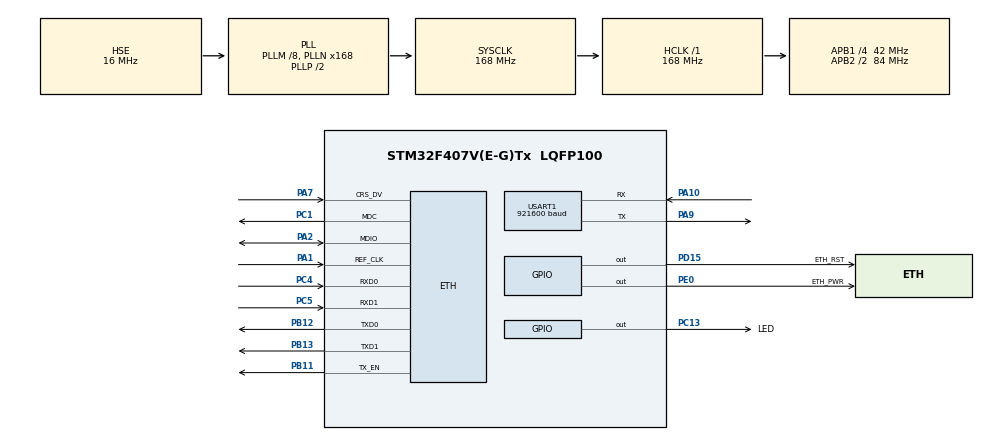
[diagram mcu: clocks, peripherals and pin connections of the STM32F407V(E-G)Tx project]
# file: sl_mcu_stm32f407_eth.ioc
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ETH.MediaInterface=HAL_ETH_RMII_MODE
LWIP.API_LIB_DEBUG=LWIP_DBG_ON
LWIP.API_MSG_DEBUG=LWIP_DBG_ON
LWIP.AUTOIP_DEBUG=LWIP_DBG_ON
LWIP.BSP.number=1
LWIP.DHCP6_DEBUG=LWIP_DBG_ON
LWIP.DHCP_DEBUG=LWIP_DBG_ON
LWIP.DNS_DEBUG=LWIP_DBG_ON
LWIP.ETHARP_DEBUG=LWIP_DBG_ON
LWIP.HTTPD_DEBUG=LWIP_DBG_ON
LWIP.HTTPD_DEBUG_TIMING=LWIP_DBG_ON
LWIP.ICMP_DEBUG=LWIP_DBG_ON
LWIP.IGMP_DEBUG=LWIP_DBG_ON
LWIP.INET_DEBUG=LWIP_DBG_ON
LWIP.IP6_DEBUG=LWIP_DBG_ON
LWIP.IP_DEBUG=LWIP_DBG_ON
LWIP.IP_REASS_DEBUG=LWIP_DBG_ON
LWIP.LWIP_DNS=1
LWIP.LWIP_IPV6=0
LWIP.LWIP_NETIF_HOSTNAME=1
LWIP.LWIP_TESTMODE=1
LWIP.MDNS_DEBUG=LWIP_DBG_ON
LWIP.MEMP_DEBUG=LWIP_DBG_ON
LWIP.MEM_DEBUG=LWIP_DBG_ON
LWIP.NETIF_DEBUG=LWIP_DBG_ON
LWIP.PBUF_DEBUG=LWIP_DBG_ON
LWIP.PPP_DEBUG=LWIP_DBG_ON
LWIP.RAW_DEBUG=LWIP_DBG_ON
LWIP.SLIP_DEBUG=LWIP_DBG_ON
LWIP.SMTP_DEBUG=LWIP_DBG_ON
LWIP.SNMP_DEBUG=LWIP_DBG_ON
LWIP.SNMP_MIB_DEBUG=LWIP_DBG_ON
LWIP.SNTP_DEBUG=LWIP_DBG_ON
LWIP.SOCKETS_DEBUG=LWIP_DBG_ON
LWIP.SYS_DEBUG=LWIP_DBG_ON
LWIP.TCPIP_DEBUG=LWIP_DBG_ON
LWIP.TCP_CWND_DEBUG=LWIP_DBG_ON
LWIP.TCP_DEBUG=LWIP_DBG_ON
LWIP.TCP_FR_DEBUG=LWIP_DBG_ON
LWIP.TCP_INPUT_DEBUG=LWIP_DBG_ON
LWIP.TCP_OUTPUT_DEBUG=LWIP_DBG_ON
LWIP.TCP_QLEN_DEBUG=LWIP_DBG_ON
LWIP.TCP_RST_DEBUG=LWIP_DBG_ON
LWIP.TCP_RTO_DEBUG=LWIP_DBG_ON
LWIP.TCP_WND_DEBUG=LWIP_DBG_ON
LWIP.TFTP_DEBUG=LWIP_DBG_ON
LWIP.TIMERS_DEBUG=LWIP_DBG_ON
LWIP.UDP_DEBUG=LWIP_DBG_ON
LWIP.Version=v2.1.2_Cube
LWIP0.BSP.STBoard=false
LWIP0.BSP.api=BSP_COMPONENT_DRIVER
LWIP0.BSP.component=LAN8742
LWIP0.BSP.instance=LAN8742
LWIP0.BSP.name=Driver_PHY
LWIP0.BSP.semaphore=S_LAN8742
LWIP0.BSP.solution=LAN8742
Mcu.Family=STM32F4
Mcu.Name=STM32F407V(E-G)Tx
Mcu.Package=LQFP100
NVIC.ETH_IRQn=true\:0\:0\:false\:false\:true\:true\:true\:true
NVIC.PriorityGroup=NVIC_PRIORITYGROUP_4
PA1.Mode=RMII
PA1.Signal=ETH_REF_CLK
PA10.Mode=Asynchronous
PA10.Signal=USART1_RX
PA13.Mode=Trace_Asynchronous_SW
PA13.Signal=SYS_JTMS-SWDIO
PA14.Mode=Trace_Asynchronous_SW
PA14.Signal=SYS_JTCK-SWCLK
PA2.GPIO_PuPd=GPIO_PULLUP
PA2.Mode=RMII
PA2.Signal=ETH_MDIO
PA7.Mode=RMII
PA7.Signal=ETH_CRS_DV
PA9.Mode=Asynchronous
PA9.Signal=USART1_TX
PB11.Mode=RMII
PB11.Signal=ETH_TX_EN
PB12.Mode=RMII
PB12.Signal=ETH_TXD0
PB13.Mode=RMII
PB13.Signal=ETH_TXD1
PB3.Mode=Trace_Asynchronous_SW
PB3.Signal=SYS_JTDO-SWO
PC1.Mode=RMII
PC1.Signal=ETH_MDC
PC13-ANTI_TAMP.GPIO_Label=LED
PC13-ANTI_TAMP.GPIO_ModeDefaultOutputPP=GPIO_MODE_OUTPUT_OD
PC13-ANTI_TAMP.GPIO_PuPd=GPIO_NOPULL
PC13-ANTI_TAMP.PinState=GPIO_PIN_SET
PC13-ANTI_TAMP.Signal=GPIO_Output
PC4.Mode=RMII
PC4.Signal=ETH_RXD0
PC5.Mode=RMII
PC5.Signal=ETH_RXD1
PD15.GPIO_Label=ETH_RST
PD15.Signal=GPIO_Output
PE0.GPIO_Label=ETH_PWR
PE0.PinState=GPIO_PIN_RESET
PE0.Signal=GPIO_Output
PH0-OSC_IN.Mode=HSE-External-Oscillator
PH0-OSC_IN.Signal=RCC_OSC_IN
PH1-OSC_OUT.Mode=HSE-External-Oscillator
PH1-OSC_OUT.Signal=RCC_OSC_OUT
ProjectManager.HeapSize=0x200
ProjectManager.StackSize=0x400
ProjectManager.TargetToolchain=STM32CubeIDE
RCC.48MHZClocksFreq_Value=48000000
RCC.AHBFreq_Value=168000000
RCC.APB1CLKDivider=RCC_HCLK_DIV4
RCC.APB1Freq_Value=42000000
RCC.APB1TimFreq_Value=84000000
RCC.APB2CLKDivider=RCC_HCLK_DIV2
RCC.APB2Freq_Value=84000000
RCC.APB2TimFreq_Value=168000000
RCC.CortexFreq_Value=168000000
RCC.HCLKFreq_Value=168000000
RCC.HSE_VALUE=16000000
RCC.HSI_VALUE=16000000
RCC.LSE_VALUE=32768
RCC.PLLM=8
RCC.PLLN=168
RCC.PLLQ=7
RCC.PLLSourceVirtual=RCC_PLLSOURCE_HSE
RCC.SYSCLKFreq_VALUE=168000000
RCC.SYSCLKSource=RCC_SYSCLKSOURCE_PLLCLK
RCC.VCOOutputFreq_Value=336000000
USART1.BaudRate=921600
USART1.OverSampling=UART_OVERSAMPLING_8
USART1.VirtualMode=VM_ASYNC
VP_LWIP_VS_Enabled.Mode=Enabled
board=custom

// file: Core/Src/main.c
/* USER CODE BEGIN Header */
/**
 ******************************************************************************
 * @file           : main.c
 * @brief          : Main program body
 ******************************************************************************
 * @attention
 *
 * Copyright (c) 2026 STM32World <lth@stm32world.com>
 * All rights reserved.
 *
 * This software is licensed under terms that can be found in the LICENSE file
 * in the root directory of this software component.
 * If no LICENSE file comes with this software, it is provided AS-IS.
 *
 ******************************************************************************
 */
/* USER CODE END Header */
#include "main.h"

/* USER CODE BEGIN Includes */
#include <stdio.h>
#include "lwip.h"
/* USER CODE END Includes */

UART_HandleTypeDef huart1;

void SystemClock_Config(void);
static void MX_GPIO_Init(void);
static void MX_USART1_UART_Init(void);

/* USER CODE BEGIN 0 */

// Send printf to uart1
int __io_putchar(int ch) {
    if (ch == '\n') {
        HAL_UART_Transmit(&huart1, (uint8_t*) "\r", 1, HAL_MAX_DELAY);
    }
    if (HAL_UART_Transmit(&huart1, (uint8_t*) &ch, 1, HAL_MAX_DELAY) != HAL_OK) {
        return -1;
    }
    return ch;
}

void init_eth_phy() {

    // Power down and reset all
    HAL_GPIO_WritePin(ETH_PWR_GPIO_Port, ETH_PWR_Pin, GPIO_PIN_RESET);
    HAL_GPIO_WritePin(ETH_RST_GPIO_Port, ETH_RST_Pin, GPIO_PIN_RESET);
    HAL_Delay(10);

    // Power PHY up - reset is still low
    HAL_GPIO_WritePin(ETH_PWR_GPIO_Port, ETH_PWR_Pin, GPIO_PIN_SET);

    // Wait 1 ms
    HAL_Delay(1);

    // Drive RST pin high
    HAL_GPIO_WritePin(ETH_RST_GPIO_Port, ETH_RST_Pin, GPIO_PIN_SET);

}

/* USER CODE END 0 */

int main(void)
{

    /* MCU Configuration--------------------------------------------------------*/

    /* Reset of all peripherals, Initializes the Flash interface and the Systick. */
    HAL_Init();

    /* Configure the system clock */
    SystemClock_Config();

    /* Initialize all configured peripherals */
    MX_GPIO_Init();
    MX_USART1_UART_Init();
    /* USER CODE BEGIN 2 */

    printf("\n\n\n--------\nStarting Ethernet Test\n");

    init_eth_phy();

    HAL_Delay(100); // Wait a bit to make sure PHY have negotiated on ethernet

    printf("Initializing LwIP Stack...\n");

    // Manually call the LwIP setup function now that the bus is clear
    MX_LWIP_Init();

    extern struct netif gnetif;
    netif_set_link_up(&gnetif);
    netif_set_up(&gnetif);

    if (netif_is_up(&gnetif)) {
        printf("LwIP Interface: UP\n");
    } else {
        printf("LwIP Interface: DOWN\n");
    }

    /* USER CODE END 2 */

    /* Infinite loop */
    /* USER CODE BEGIN WHILE */

    uint32_t now = 0, loop_cnt = 0, next_blink = 500, next_tick = 1000;

    while (1) {

        now = uwTick;

        if (now >= next_blink) {
            HAL_GPIO_TogglePin(LED_GPIO_Port, LED_Pin);
            next_blink += 500;
        }

        if (now >= next_tick) {

            // Extract the IP address bytes from the gnetif structure
            uint8_t ip0 = ip4_addr1_16(netif_ip_addr4(&gnetif));
            uint8_t ip1 = ip4_addr2_16(netif_ip_addr4(&gnetif));
            uint8_t ip2 = ip4_addr3_16(netif_ip_addr4(&gnetif));
            uint8_t ip3 = ip4_addr4_16(netif_ip_addr4(&gnetif));

            printf("Tick %lu | IP: %d.%d.%d.%d (loop = %lu)\n",
                    now / 1000, ip0, ip1, ip2, ip3, loop_cnt);

            loop_cnt = 0;
            next_tick = now + 1000;

        }

        MX_LWIP_Process();

        ++loop_cnt;

        /* USER CODE END WHILE */

    }
}

void SystemClock_Config(void)
{
    RCC_OscInitTypeDef RCC_OscInitStruct = { 0 };
    RCC_ClkInitTypeDef RCC_ClkInitStruct = { 0 };

    /** Configure the main internal regulator output voltage
     */
    __HAL_RCC_PWR_CLK_ENABLE();
    __HAL_PWR_VOLTAGESCALING_CONFIG(PWR_REGULATOR_VOLTAGE_SCALE1);

    /** Initializes the RCC Oscillators according to the specified parameters
     * in the RCC_OscInitTypeDef structure.
     */
    RCC_OscInitStruct.OscillatorType = RCC_OSCILLATORTYPE_HSE;
    RCC_OscInitStruct.HSEState = RCC_HSE_ON;
    RCC_OscInitStruct.PLL.PLLState = RCC_PLL_ON;
    RCC_OscInitStruct.PLL.PLLSource = RCC_PLLSOURCE_HSE;
    RCC_OscInitStruct.PLL.PLLM = 8;
    RCC_OscInitStruct.PLL.PLLN = 168;
    RCC_OscInitStruct.PLL.PLLP = RCC_PLLP_DIV2;
    RCC_OscInitStruct.PLL.PLLQ = 7;
    if (HAL_RCC_OscConfig(&RCC_OscInitStruct) != HAL_OK)
            {
        Error_Handler();
    }

    /** Initializes the CPU, AHB and APB buses clocks
     */
    RCC_ClkInitStruct.ClockType = RCC_CLOCKTYPE_HCLK | RCC_CLOCKTYPE_SYSCLK
            | RCC_CLOCKTYPE_PCLK1 | RCC_CLOCKTYPE_PCLK2;
    RCC_ClkInitStruct.SYSCLKSource = RCC_SYSCLKSOURCE_PLLCLK;
    RCC_ClkInitStruct.AHBCLKDivider = RCC_SYSCLK_DIV1;
    RCC_ClkInitStruct.APB1CLKDivider = RCC_HCLK_DIV4;
    RCC_ClkInitStruct.APB2CLKDivider = RCC_HCLK_DIV2;

    if (HAL_RCC_ClockConfig(&RCC_ClkInitStruct, FLASH_LATENCY_5) != HAL_OK)
            {
        Error_Handler();
    }
}

static void MX_USART1_UART_Init(void)
{

    huart1.Instance = USART1;
    huart1.Init.BaudRate = 921600;
    huart1.Init.WordLength = UART_WORDLENGTH_8B;
    huart1.Init.StopBits = UART_STOPBITS_1;
    huart1.Init.Parity = UART_PARITY_NONE;
    huart1.Init.Mode = UART_MODE_TX_RX;
    huart1.Init.HwFlowCtl = UART_HWCONTROL_NONE;
    huart1.Init.OverSampling = UART_OVERSAMPLING_8;
    if (HAL_UART_Init(&huart1) != HAL_OK)
            {
        Error_Handler();
    }

}

static void MX_GPIO_Init(void)
{
    GPIO_InitTypeDef GPIO_InitStruct = { 0 };

    /* GPIO Ports Clock Enable */
    __HAL_RCC_GPIOC_CLK_ENABLE();
    __HAL_RCC_GPIOH_CLK_ENABLE();
    __HAL_RCC_GPIOA_CLK_ENABLE();
    __HAL_RCC_GPIOB_CLK_ENABLE();
    __HAL_RCC_GPIOD_CLK_ENABLE();
    __HAL_RCC_GPIOE_CLK_ENABLE();

    /*Configure GPIO pin Output Level */
    HAL_GPIO_WritePin(LED_GPIO_Port, LED_Pin, GPIO_PIN_SET);

    /*Configure GPIO pin Output Level */
    HAL_GPIO_WritePin(ETH_RST_GPIO_Port, ETH_RST_Pin, GPIO_PIN_RESET);

    /*Configure GPIO pin Output Level */
    HAL_GPIO_WritePin(ETH_PWR_GPIO_Port, ETH_PWR_Pin, GPIO_PIN_RESET);

    /*Configure GPIO pin : LED_Pin */
    GPIO_InitStruct.Pin = LED_Pin;
    GPIO_InitStruct.Mode = GPIO_MODE_OUTPUT_OD;
    GPIO_InitStruct.Pull = GPIO_NOPULL;
    GPIO_InitStruct.Speed = GPIO_SPEED_FREQ_LOW;
    HAL_GPIO_Init(LED_GPIO_Port, &GPIO_InitStruct);

    /*Configure GPIO pin : ETH_RST_Pin */
    GPIO_InitStruct.Pin = ETH_RST_Pin;
    GPIO_InitStruct.Mode = GPIO_MODE_OUTPUT_PP;
    GPIO_InitStruct.Pull = GPIO_NOPULL;
    GPIO_InitStruct.Speed = GPIO_SPEED_FREQ_LOW;
    HAL_GPIO_Init(ETH_RST_GPIO_Port, &GPIO_InitStruct);

    /*Configure GPIO pin : ETH_PWR_Pin */
    GPIO_InitStruct.Pin = ETH_PWR_Pin;
    GPIO_InitStruct.Mode = GPIO_MODE_OUTPUT_PP;
    GPIO_InitStruct.Pull = GPIO_NOPULL;
    GPIO_InitStruct.Speed = GPIO_SPEED_FREQ_LOW;
    HAL_GPIO_Init(ETH_PWR_GPIO_Port, &GPIO_InitStruct);

}

void Error_Handler(void)
{
    __disable_irq();
    while (1)
    {
    }
}
